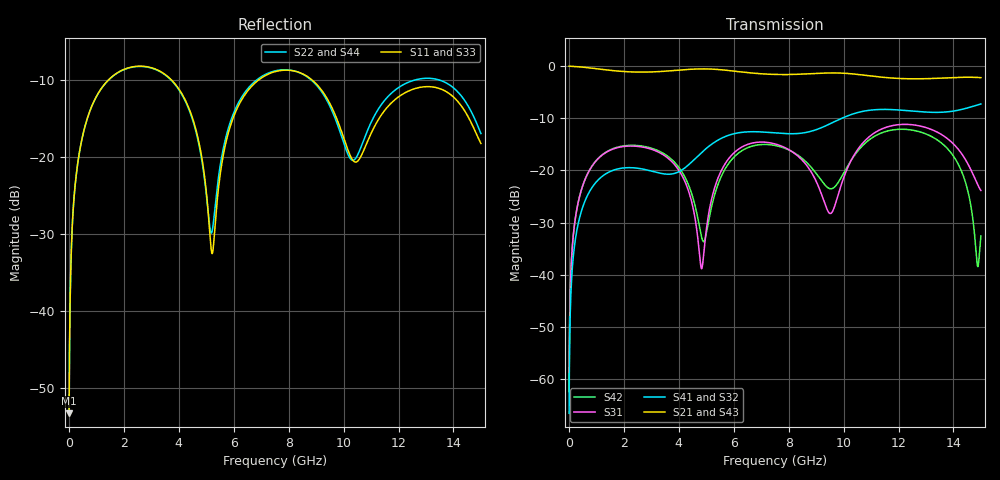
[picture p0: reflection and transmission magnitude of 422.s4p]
! Created with skrf 1.8.0 (http://scikit-rf.org).
# GHz S RI R 50.0
!freq ReS11 ImS11 ReS12 ImS12 ReS13 ImS13
! ReS14 ImS14
! ReS21 ImS21 ReS22 ImS22 ReS23 ImS23
! ReS24 ImS24
! ReS31 ImS31 ReS32 ImS32 ReS33 ImS33
! ReS34 ImS34
! ReS41 ImS41 ReS42 ImS42 ReS43 ImS43
! ReS44 ImS44
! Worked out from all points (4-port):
!   2499 points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, 5 MHz to 15 GHz, reference 50 ohm
!   strongest paths, dB at 5 MHz, 3.476 GHz, 7.19 GHz, 11.1 GHz, 15 GHz:
!     S21: 0.0, -1.0, -1.5, -2.0, -2.2
!     S43: 0.0, -1.0, -1.5, -2.0, -2.2
!     S41: -66.6, -20.7, -12.7, -8.4, -7.3
!     S32: -66.6, -20.8, -12.7, -8.4, -7.3
!     S31: -62.4, -17.2, -14.6, -12.9, -23.9
!     S42: -62.4, -16.9, -15.0, -13.5, -32.6
!   lowest |S11| = -53.3 dB at 5 MHz (marker M1), VSWR 1.00, Z = 50.2 + j0.13 ohm
!   |S11| at or under -10 dB: start of sweep to 1.446 GHz; 3.723 GHz to 6.918 GHz (3.195 GHz wide, 60 % of centre); 8.84 GHz to end of sweep
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0.005  0.00172 0.0013  0.9982 -0.00335  8.91e-05 0.000751  -8.62e-05 -0.00046
       0.9982 -0.00335  0.00172 0.0013  -8.62e-05 -0.00046  8.92e-05 0.000751
       8.91e-05 0.000751  -8.62e-05 -0.00046  0.00172 0.0013  0.9982 -0.00335
       -8.62e-05 -0.00046  8.92e-05 0.000751  0.9982 -0.00335  0.00172 0.0013
0.3626511  0.033 0.0968  0.9544 -0.2393  0.0169 0.0504  -0.014 -0.03
           0.9544 -0.2393  0.0329 0.0968  -0.014 -0.0301  0.0174 0.0502
           0.0169 0.0504  -0.014 -0.0301  0.033 0.0968  0.9544 -0.2393
           -0.014 -0.03  0.0174 0.0502  0.9544 -0.2393  0.0329 0.0968
1.77574  0.3222 0.1411  0.4148 -0.7941  0.1574 0.0508  -0.1016 0.0188
         0.4148 -0.7941  0.3205 0.1427  -0.1013 0.0184  0.1619 0.0422
         0.1574 0.0508  -0.1013 0.0184  0.3223 0.1409  0.4148 -0.7941
         -0.1016 0.0188  0.1619 0.0422  0.4148 -0.7941  0.3203 0.1429
5.20842  0.0234 -0.00235  -0.9332 -0.0664  0.0222 0.0504  -0.00566 0.1791
         -0.9332 -0.0664  0.0322 0.00481  -0.00975 0.1789  -0.0102 0.0456
         0.0222 0.0504  -0.00975 0.1789  0.0222 -0.00133  -0.9332 -0.0661
         -0.00566 0.1791  -0.0102 0.0456  -0.9332 -0.0661  0.0334 0.0056
8.022093  0.3636 -0.0204  -0.0273 0.8301  0.1336 -0.0829  0.2174 -0.0563
          -0.0273 0.8301  0.3646 -0.026  0.2175 -0.0483  0.1302 -0.0862
          0.1336 -0.0829  0.2175 -0.0483  0.3661 -0.0197  -0.0276 0.8296
          0.2174 -0.0563  0.1302 -0.0862  -0.0276 0.8296  0.3647 -0.0264
10.77324  0.1092 0.0335  0.816 -0.0398  0.0705 0.1785  -0.0484 -0.3681
          0.816 -0.0398  0.1222 0.0547  -0.0342 -0.3682  0.0275 0.179
          0.0705 0.1785  -0.0342 -0.3682  0.1143 0.0364  0.816 -0.039
          -0.0484 -0.3681  0.0275 0.179  0.816 -0.039  0.1181 0.0521
15  0.1152 -0.0398  -0.6058 -0.4827  -0.0576 -0.0282  -0.2497 0.354
    -0.6058 -0.4827  0.1147 -0.0828  -0.2741 0.3359  -0.0154 0.0178
    -0.0576 -0.0282  -0.2741 0.3359  0.1111 -0.0513  -0.6027 -0.4855
    -0.2497 0.354  -0.0154 0.0178  -0.6027 -0.4855  0.1263 -0.0829
